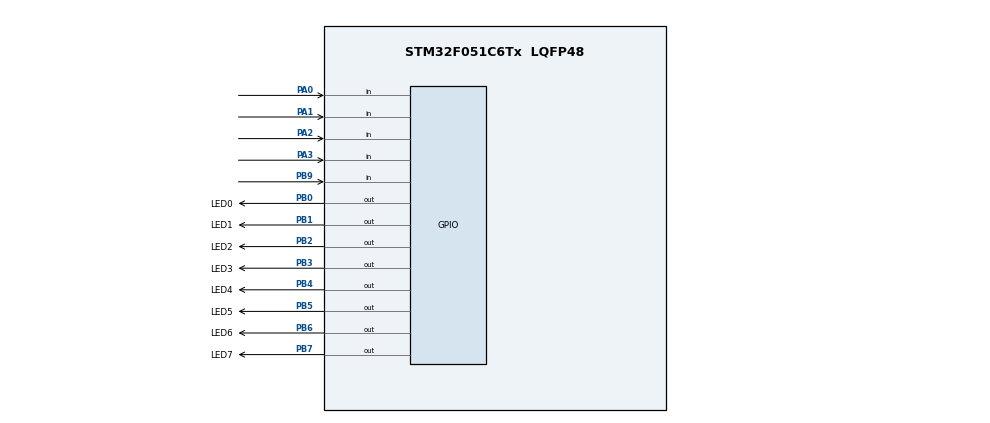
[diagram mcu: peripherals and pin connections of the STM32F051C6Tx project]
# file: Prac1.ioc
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Mcu.Family=STM32F0
Mcu.Name=STM32F051C6Tx
Mcu.Package=LQFP48
PA0.Signal=GPIO_Input
PA1.Signal=GPIO_Input
PA13.Mode=Serial_Wire
PA13.Signal=SYS_SWDIO
PA14.Mode=Serial_Wire
PA14.Signal=SYS_SWCLK
PA2.Signal=GPIO_Input
PA3.Signal=GPIO_Input
PB0.GPIO_Label=LED0
PB0.Signal=GPIO_Output
PB1.GPIO_Label=LED1
PB1.Signal=GPIO_Output
PB2.GPIO_Label=LED2
PB2.Signal=GPIO_Output
PB3.GPIO_Label=LED3
PB3.Signal=GPIO_Output
PB4.GPIO_Label=LED4
PB4.Signal=GPIO_Output
PB5.GPIO_Label=LED5
PB5.Signal=GPIO_Output
PB6.GPIO_Label=LED6
PB6.Signal=GPIO_Output
PB7.GPIO_Label=LED7
PB7.Signal=GPIO_Output
PB9.Signal=GPIO_Input
PF0-OSC_IN.Mode=HSE-External-Oscillator
PF0-OSC_IN.Signal=RCC_OSC_IN
PF1-OSC_OUT.Mode=HSE-External-Oscillator
PF1-OSC_OUT.Signal=RCC_OSC_OUT
ProjectManager.HeapSize=0x200
ProjectManager.StackSize=0x400
ProjectManager.TargetToolchain=STM32CubeIDE
TIM16.AutoReloadPreload=TIM_AUTORELOAD_PRELOAD_ENABLE
TIM16.Period=1000-1
TIM16.Prescaler=8000-1
VP_TIM16_VS_ClockSourceINT.Mode=Enable_Timer
board=custom

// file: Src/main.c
/* USER CODE BEGIN Header */
/**
  ******************************************************************************
  * @file           : main.c
  * @brief          : Main program body
  ******************************************************************************
  * @attention
  *
  * Copyright (c) 2023 STMicroelectronics.
  * All rights reserved.
  *
  * This software is licensed under terms that can be found in the LICENSE file
  * in the root directory of this software component.
  * If no LICENSE file comes with this software, it is provided AS-IS.
  *
  ******************************************************************************
  */
/* USER CODE END Header */
#include "main.h"

/* USER CODE BEGIN Includes */
#include <stdint.h>
#include "stm32f0xx.h"
#include "stm32f0xx_ll_gpio.h"
#include "stm32f0xx_ll_tim.h"
/* USER CODE END Includes */

TIM_HandleTypeDef htim16;

/* USER CODE BEGIN PV */
// TODO:Define input variables an
// the bit patterns of the LED inputs
#define PATTERN_1 0b11101001
#define PATTERN_2 0b11010010
#define PATTERN_3 0b10100100
#define PATTERN_4 0b01001000
#define PATTERN_5 0b10010000
#define PATTERN_6 0b00100000
#define PATTERN_7 0b01000000
#define PATTERN_8 0b10000000
#define PATTERN_9 0b00000000
#define num_of_patterns 9
#define LED0_Pin LL_GPIO_PIN_0
#define LED1_Pin LL_GPIO_PIN_1
#define LED2_Pin LL_GPIO_PIN_2
#define LED3_Pin LL_GPIO_PIN_3
#define LED4_Pin LL_GPIO_PIN_4
#define LED5_Pin LL_GPIO_PIN_5
#define LED6_Pin LL_GPIO_PIN_6
#define LED7_Pin LL_GPIO_PIN_7

volatile uint8_t button0_pressed = 0;
volatile uint8_t button1_pressed = 0;
volatile uint8_t button2_pressed = 0;
volatile uint8_t button3_pressed = 0;

// Debounce delay
#define DEBOUNCE_DELAY_MS 1
static uint32_t last_button_check = 0;
// determining the number of patterns in the array that will be used to store the pattrns
//using an array to store the bit patterns
uint32_t patterns[num_of_patterns] = { PATTERN_1, PATTERN_2, PATTERN_3, PATTERN_4,PATTERN_5, PATTERN_6, PATTERN_7, PATTERN_8, PATTERN_9 };
uint8_t current_pattern_index = 0;

/* USER CODE END PV */

void SystemClock_Config(void);
void MX_GPIO_Init(void);
void MX_TIM16_Init(void);
/* USER CODE BEGIN PFP */
void TIM16_IRQHandler(void);
/* USER CODE END PFP */
void TIM16_IRQHandler(void);
void update_led_pattern(void);
void set_timer_period(uint32_t period);

int main(void)
{

  /* MCU Configuration--------------------------------------------------------*/

  /* Reset of all peripherals, Initializes the Flash interface and the Systick. */
  HAL_Init();

  /* Configure the system clock */
  SystemClock_Config();

  /* Initialize all configured peripherals */

  MX_GPIO_Init();
  MX_TIM16_Init();
  /* USER CODE BEGIN 2 */

  // TODO: Start timer TIM16
  HAL_TIM_Base_Start_IT(&htim16);
  update_led_pattern();
  /* USER CODE END 2 */

  /* Infinite loop */
  while (1)
  {

    /* USER CODE BEGIN 3 */

    // TODO: Check pushbuttons to change timer delay

	  check_buttons();
	  if (button0_pressed)
	     {
	         button0_pressed = 0; // Reset the button state
	         set_timer_period(500);
	     }
	     if (button1_pressed)
	     {
	         button1_pressed = 0; // Reset the button state
	         set_timer_period(2000);
	     }
	     if (button2_pressed)
	     {
	         button2_pressed = 0; // Reset the button state
	         set_timer_period(1000);
	     }
	     if (button3_pressed)
	     {
	         button3_pressed = 0; // Reset the button state
	         current_pattern_index = 0;
	         update_led_pattern(); // Update the pattern immediately
	     }
	     /* USER CODE END WHILE */
	   }

	      // Execute button actions immediately after checking
	      }

  /* USER CODE END 3 */

void SystemClock_Config(void)
{
  LL_FLASH_SetLatency(LL_FLASH_LATENCY_0);
  while(LL_FLASH_GetLatency() != LL_FLASH_LATENCY_0)
  {
  }
  LL_RCC_HSI_Enable();

   /* Wait till HSI is ready */
  while(LL_RCC_HSI_IsReady() != 1)
  {

  }
  LL_RCC_HSI_SetCalibTrimming(16);
  LL_RCC_SetAHBPrescaler(LL_RCC_SYSCLK_DIV_1);
  LL_RCC_SetAPB1Prescaler(LL_RCC_APB1_DIV_1);
  LL_RCC_SetSysClkSource(LL_RCC_SYS_CLKSOURCE_HSI);

   /* Wait till System clock is ready */
  while(LL_RCC_GetSysClkSource() != LL_RCC_SYS_CLKSOURCE_STATUS_HSI)
  {

  }
  LL_SetSystemCoreClock(8000000);

   /* Update the time base */
  if (HAL_InitTick (TICK_INT_PRIORITY) != HAL_OK)
  {
    Error_Handler();
  }
}

 void MX_TIM16_Init(void)
{
    htim16.Instance = TIM16;
    htim16.Init.Prescaler = 8000 - 1;  // Assuming 8 MHz clock (1 MHz timer clock)
    htim16.Init.CounterMode = TIM_COUNTERMODE_UP;
    htim16.Init.Period = 1000 - 1;     // 1 second period
    htim16.Init.ClockDivision = TIM_CLOCKDIVISION_DIV1;
    htim16.Init.RepetitionCounter = 0;
    htim16.Init.AutoReloadPreload = TIM_AUTORELOAD_PRELOAD_ENABLE;
    if (HAL_TIM_Base_Init(&htim16) != HAL_OK)
    {
        Error_Handler();
    }

    // Enable update interrupt
    __HAL_TIM_ENABLE_IT(&htim16, TIM_IT_UPDATE);

    // Set priority and enable TIM16 interrupt in NVIC
    HAL_NVIC_SetPriority(TIM16_IRQn, 0, 0);
    HAL_NVIC_EnableIRQ(TIM16_IRQn);
}
 void MX_GPIO_Init(void)
{
  LL_GPIO_InitTypeDef GPIO_InitStruct = {0};

  /* GPIO Ports Clock Enable */
  LL_AHB1_GRP1_EnableClock(LL_AHB1_GRP1_PERIPH_GPIOF);
  LL_AHB1_GRP1_EnableClock(LL_AHB1_GRP1_PERIPH_GPIOA);
  LL_AHB1_GRP1_EnableClock(LL_AHB1_GRP1_PERIPH_GPIOB);

  /**/
  LL_GPIO_ResetOutputPin(LED0_GPIO_Port, LED0_Pin);

  /**/
  LL_GPIO_ResetOutputPin(LED1_GPIO_Port, LED1_Pin);

  /**/
  LL_GPIO_ResetOutputPin(LED2_GPIO_Port, LED2_Pin);

  /**/
  LL_GPIO_ResetOutputPin(LED3_GPIO_Port, LED3_Pin);

  /**/
  LL_GPIO_ResetOutputPin(LED4_GPIO_Port, LED4_Pin);

  /**/
  LL_GPIO_ResetOutputPin(LED5_GPIO_Port, LED5_Pin);

  /**/
  LL_GPIO_ResetOutputPin(LED6_GPIO_Port, LED6_Pin);

  /**/
  LL_GPIO_ResetOutputPin(LED7_GPIO_Port, LED7_Pin);

  /**/
  GPIO_InitStruct.Pin = Button0_Pin;
  GPIO_InitStruct.Mode = LL_GPIO_MODE_INPUT;
  GPIO_InitStruct.Pull = LL_GPIO_PULL_UP;
  LL_GPIO_Init(Button0_GPIO_Port, &GPIO_InitStruct);

  /**/
  GPIO_InitStruct.Pin = Button1_Pin;
  GPIO_InitStruct.Mode = LL_GPIO_MODE_INPUT;
  GPIO_InitStruct.Pull = LL_GPIO_PULL_UP;
  LL_GPIO_Init(Button1_GPIO_Port, &GPIO_InitStruct);

  /**/
  GPIO_InitStruct.Pin = Button2_Pin;
  GPIO_InitStruct.Mode = LL_GPIO_MODE_INPUT;
  GPIO_InitStruct.Pull = LL_GPIO_PULL_UP;
  LL_GPIO_Init(Button2_GPIO_Port, &GPIO_InitStruct);

  /**/
  GPIO_InitStruct.Pin = Button3_Pin;
  GPIO_InitStruct.Mode = LL_GPIO_MODE_INPUT;
  GPIO_InitStruct.Pull = LL_GPIO_PULL_UP;
  LL_GPIO_Init(Button3_GPIO_Port, &GPIO_InitStruct);

  /**/
  GPIO_InitStruct.Pin = LED0_Pin;
  GPIO_InitStruct.Mode = LL_GPIO_MODE_OUTPUT;
  GPIO_InitStruct.Speed = LL_GPIO_SPEED_FREQ_LOW;
  GPIO_InitStruct.OutputType = LL_GPIO_OUTPUT_PUSHPULL;
  GPIO_InitStruct.Pull = LL_GPIO_PULL_NO;
  LL_GPIO_Init(LED0_GPIO_Port, &GPIO_InitStruct);

  /**/
  GPIO_InitStruct.Pin = LED1_Pin;
  GPIO_InitStruct.Mode = LL_GPIO_MODE_OUTPUT;
  GPIO_InitStruct.Speed = LL_GPIO_SPEED_FREQ_LOW;
  GPIO_InitStruct.OutputType = LL_GPIO_OUTPUT_PUSHPULL;
  GPIO_InitStruct.Pull = LL_GPIO_PULL_NO;
  LL_GPIO_Init(LED1_GPIO_Port, &GPIO_InitStruct);

  /**/
  GPIO_InitStruct.Pin = LED2_Pin;
  GPIO_InitStruct.Mode = LL_GPIO_MODE_OUTPUT;
  GPIO_InitStruct.Speed = LL_GPIO_SPEED_FREQ_LOW;
  GPIO_InitStruct.OutputType = LL_GPIO_OUTPUT_PUSHPULL;
  GPIO_InitStruct.Pull = LL_GPIO_PULL_NO;
  LL_GPIO_Init(LED2_GPIO_Port, &GPIO_InitStruct);

  /**/
  GPIO_InitStruct.Pin = LED3_Pin;
  GPIO_InitStruct.Mode = LL_GPIO_MODE_OUTPUT;
  GPIO_InitStruct.Speed = LL_GPIO_SPEED_FREQ_LOW;
  GPIO_InitStruct.OutputType = LL_GPIO_OUTPUT_PUSHPULL;
  GPIO_InitStruct.Pull = LL_GPIO_PULL_NO;
  LL_GPIO_Init(LED3_GPIO_Port, &GPIO_InitStruct);

  /**/
  GPIO_InitStruct.Pin = LED4_Pin;
  GPIO_InitStruct.Mode = LL_GPIO_MODE_OUTPUT;
  GPIO_InitStruct.Speed = LL_GPIO_SPEED_FREQ_LOW;
  GPIO_InitStruct.OutputType = LL_GPIO_OUTPUT_PUSHPULL;
  GPIO_InitStruct.Pull = LL_GPIO_PULL_NO;
  LL_GPIO_Init(LED4_GPIO_Port, &GPIO_InitStruct);

  /**/
  GPIO_InitStruct.Pin = LED5_Pin;
  GPIO_InitStruct.Mode = LL_GPIO_MODE_OUTPUT;
  GPIO_InitStruct.Speed = LL_GPIO_SPEED_FREQ_LOW;
  GPIO_InitStruct.OutputType = LL_GPIO_OUTPUT_PUSHPULL;
  GPIO_InitStruct.Pull = LL_GPIO_PULL_NO;
  LL_GPIO_Init(LED5_GPIO_Port, &GPIO_InitStruct);

  /**/
  GPIO_InitStruct.Pin = LED6_Pin;
  GPIO_InitStruct.Mode = LL_GPIO_MODE_OUTPUT;
  GPIO_InitStruct.Speed = LL_GPIO_SPEED_FREQ_LOW;
  GPIO_InitStruct.OutputType = LL_GPIO_OUTPUT_PUSHPULL;
  GPIO_InitStruct.Pull = LL_GPIO_PULL_NO;
  LL_GPIO_Init(LED6_GPIO_Port, &GPIO_InitStruct);

  /**/
  GPIO_InitStruct.Pin = LED7_Pin;
  GPIO_InitStruct.Mode = LL_GPIO_MODE_OUTPUT;
  GPIO_InitStruct.Speed = LL_GPIO_SPEED_FREQ_LOW;
  GPIO_InitStruct.OutputType = LL_GPIO_OUTPUT_PUSHPULL;
  GPIO_InitStruct.Pull = LL_GPIO_PULL_NO;
  LL_GPIO_Init(LED7_GPIO_Port, &GPIO_InitStruct);

  /**/
  GPIO_InitStruct.Pin = LL_GPIO_PIN_9;
  GPIO_InitStruct.Mode = LL_GPIO_MODE_INPUT;
  GPIO_InitStruct.Pull = LL_GPIO_PULL_NO;
  LL_GPIO_Init(GPIOB, &GPIO_InitStruct);

}

/* USER CODE BEGIN 4 */

// Timer rolled over
void TIM16_IRQHandler(void)
{
    if (__HAL_TIM_GET_FLAG(&htim16, TIM_FLAG_UPDATE) != RESET)
    {
        if (__HAL_TIM_GET_IT_SOURCE(&htim16, TIM_IT_UPDATE) != RESET)
        {
            __HAL_TIM_CLEAR_IT(&htim16, TIM_IT_UPDATE);

                // Update pattern index and LED pattern
                current_pattern_index = (current_pattern_index + 1) % num_of_patterns;
                update_led_pattern();

        }
    }
}

void update_led_pattern(void) {
    uint32_t pattern = patterns[current_pattern_index];

    // Reset all LEDs
    LL_GPIO_ResetOutputPin(GPIOB, LED0_Pin | LED1_Pin | LED2_Pin | LED3_Pin | LED4_Pin | LED5_Pin | LED6_Pin | LED7_Pin);

    // Update LEDs according to the pattern
    for (int i = 0; i < 8; i++) {
        if (pattern & (1 << i)) {
            LL_GPIO_SetOutputPin(GPIOB, (1 << i));
        }
    }
}
void set_timer_period(uint32_t period_ms)
{
    // Calculate period value based on timer clock frequency
	 __HAL_TIM_SET_AUTORELOAD(&htim16, period_ms - 1);

}
/* USER CODE END 4 */
void check_buttons(void)
 {
     if (!LL_GPIO_IsInputPinSet(Button0_GPIO_Port, Button0_Pin)) {
         button0_pressed = 1;
     }
     if (!LL_GPIO_IsInputPinSet(Button1_GPIO_Port, Button1_Pin)) {
         button1_pressed = 1;
     }
     if (!LL_GPIO_IsInputPinSet(Button2_GPIO_Port, Button2_Pin)) {
         button2_pressed = 1;
     }
     if (!LL_GPIO_IsInputPinSet(Button3_GPIO_Port, Button3_Pin)) {
         button3_pressed = 1;
     }
 }
void Error_Handler(void)
{
  /* USER CODE BEGIN Error_Handler_Debug */
  /* User can add his own implementation to report the HAL error return state */
  __disable_irq();
  while (1)
  {
  }}
  /* USER CODE END Error_Handler_Debug */
